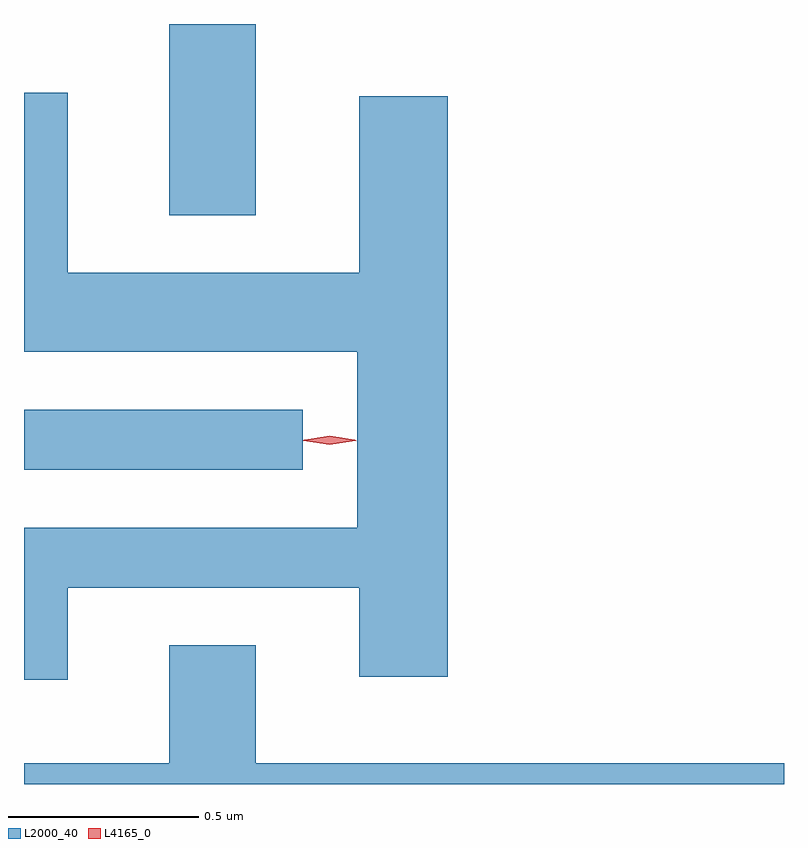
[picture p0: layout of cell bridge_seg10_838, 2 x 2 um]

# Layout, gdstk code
import gdstk
lib = gdstk.Library(unit=1e-6, precision=1e-09)
def R(c, l, rs):  # rectangles x0, y0, x1, y1
    for r in rs: c.add(gdstk.rectangle(r[:2], r[2:], *l))
def P(c, l, *ps):  # polygons
    for p in ps: c.add(gdstk.Polygon(p, *l))
L2000_40 = (2000, 40)
L4165_0 = (4165, 0)

bridge_seg10_838 = lib.new_cell('bridge_seg10_838')
R(bridge_seg10_838, L2000_40, [(581.419,2094.976,582.153,2095.134), (581.801,2095.646,582.029,2096.149)])
P(bridge_seg10_838, L2000_40, [(581.534,2094.666),(582.301,2094.666),(582.301,2094.431),(582.534,2094.431),(582.534,2095.959),(582.301,2095.959),(582.301,2095.494),(581.534,2095.494),(581.534,2095.968),(581.419,2095.968),(581.419,2095.286),(582.296,2095.286),(582.296,2094.824),(581.419,2094.824),(581.419,2094.423),(581.534,2094.423)],
  [(583.419,2094.204),(582.029,2094.204),(582.029,2094.514),(581.801,2094.514),(581.801,2094.204),(581.419,2094.204),(581.419,2094.149),(583.419,2094.149)])
P(bridge_seg10_838, L4165_0, [(582.223,2095.045),(582.158,2095.054),(582.157,2095.055),(582.158,2095.055),(582.223,2095.065),(582.289,2095.055),(582.289,2095.055),(582.289,2095.054)],
  [(582.223,2095.042),(582.154,2095.052),(582.154,2095.052),(582.154,2095.053),(582.223,2095.062),(582.292,2095.053),(582.293,2095.052),(582.292,2095.052)])

lib.write_gds('bridge_seg10_838.gds')
